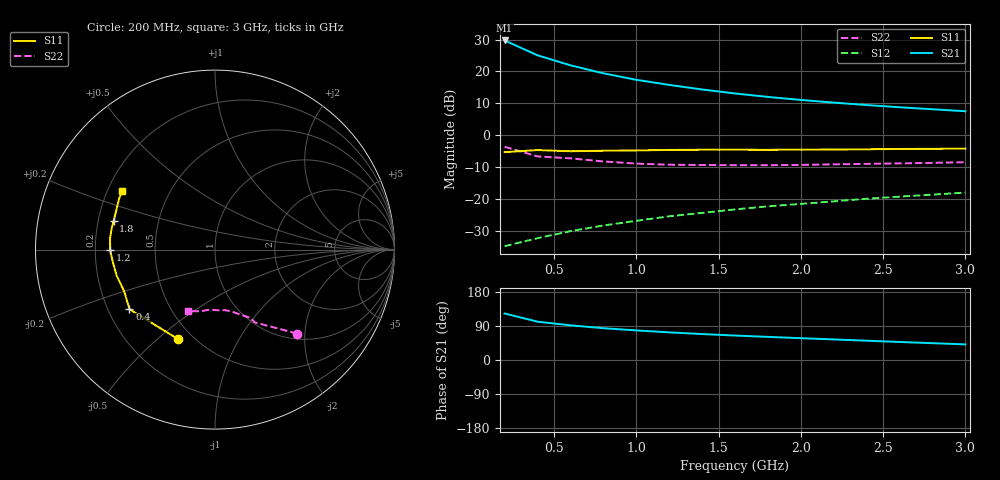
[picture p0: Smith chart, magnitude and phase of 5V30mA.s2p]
#  HZ  S  MA  R  50.0000
! Device:MCH4015
! "! Bias:VCE=5V, IC=30mA  "
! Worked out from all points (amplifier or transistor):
!   15 points, 200 MHz to 3 GHz, reference 50 ohm
!   highest |S21| = 29.7 dB at 200 MHz (marker M1)
!   |S21| within 3 dB of that: start of sweep to 328.7 MHz
!   unconditionally stable (mu >= 1): 1.685 GHz to 2.864 GHz
!   at 600 MHz: K = 0.68, MSG = 26.0 dB, |S12| = -30.2 dB
!   at 1.6 GHz: K = 0.99, MSG = 18.2 dB, |S12| = -23.3 dB
!   at 3 GHz: K = 0.99, MSG = 12.8 dB, |S12| = -18.1 dB
!   S11 on the Smith chart (normalised r, x): 200 MHz: 0.42, -0.58; 400 MHz: 0.29, -0.29; 1.2 GHz: 0.26, -0.00; 1.8 GHz: 0.26, +0.13; 3 GHz: 0.26, +0.27
2e8  0.539 -112.7  30.59 122.7  0.018 56.9  0.655 -45.6
4e8  0.581 -145.1  17.88 101.1  0.024 56.8  0.462 -61.4
6e8  0.557 -155.3  12.45 91.5  0.031 61.4  0.431 -62.3
8e8  0.567 -165.4  9.326 83.9  0.038 64.3  0.385 -69.3
1e9  0.574 -173.4  7.376 78.1  0.045 66.1  0.356 -75.2
1.2e9  0.584 -179.8  6.134 72.9  0.053 67.5  0.342 -80.6
1.4e9  0.588 173.9  5.198 68.5  0.06 68.4  0.339 -86.2
1.6e9  0.588 168.8  4.498 64.5  0.068 68.2  0.336 -91.1
1.8e9  0.587 164.3  3.971 61.0  0.076 68.6  0.336 -94.7
2e9  0.589 160.7  3.559 57.6  0.083 68.8  0.34 -97.7
2.2e9  0.593 157.7  3.234 54.3  0.091 68.5  0.347 -100.6
2.4e9  0.598 154.9  2.96 50.9  0.1 67.9  0.353 -103.6
2.6e9  0.605 152.0  2.733 47.6  0.108 67.5  0.359 -106.9
2.8e9  0.608 149.6  2.541 44.4  0.116 66.8  0.366 -110.2
3e9  0.612 147.5  2.366 41.2  0.125 65.9  0.375 -114.0
